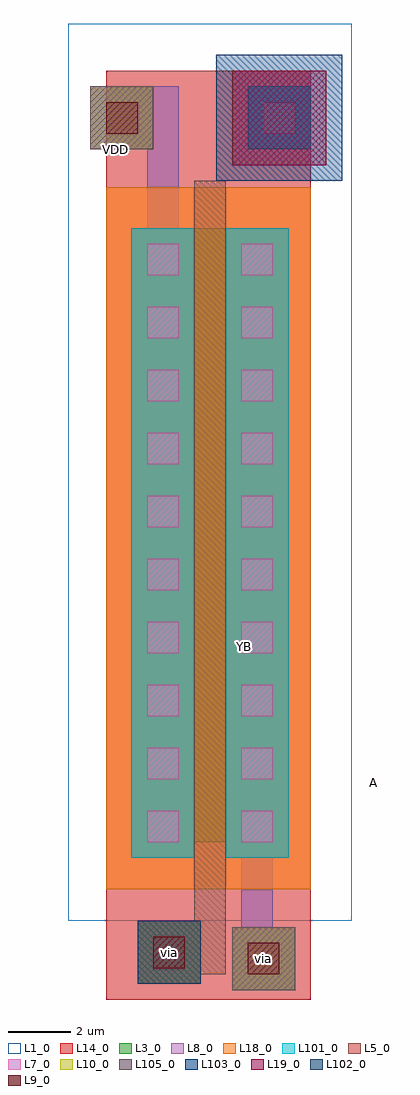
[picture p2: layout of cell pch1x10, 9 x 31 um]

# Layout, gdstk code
import gdstk
lib = gdstk.Library(unit=1e-6, precision=1e-09)
def R(c, l, rs):  # rectangles x0, y0, x1, y1
    for r in rs: c.add(gdstk.rectangle(r[:2], r[2:], *l))
L1_0 = (1, 0)
L3_0 = (3, 0)
L5_0 = (5, 0)
L7_0 = (7, 0)
L8_0 = (8, 0)
L9_0 = (9, 0)
L10_0 = (10, 0)
L14_0 = (14, 0)
L18_0 = (18, 0)
L19_0 = (19, 0)
L101_0 = (101, 0)
L102_0 = (102, 0)
L103_0 = (103, 0)
L105_0 = (105, 0)

dcont = lib.new_cell('dcont')
R(dcont, L3_0, [(-1,-1,1,1)])
R(dcont, L7_0, [(-0.5,-0.5,0.5,0.5)])
R(dcont, L8_0, [(-1,-1,1,1)])
R(dcont, L101_0, [(-1,-1,1,1)])
dcont.add(gdstk.Label('dcont', (0,0), layer=13, texttype=0))

via = lib.new_cell('Via')
R(via, L8_0, [(-1,-1,1,1)])
R(via, L9_0, [(-0.5,-0.5,0.5,0.5)])
R(via, L10_0, [(-1,-1,1,1)])
R(via, L105_0, [(-1,-1,1,1)])
via.add(gdstk.Label('via', (0,0), layer=13, texttype=0))

nsubcont = lib.new_cell('nsubcont')
R(nsubcont, L1_0, [(-2,-2,2,2)])
R(nsubcont, L19_0, [(-1.5,-1.5,1.5,1.5)])
R(nsubcont, L103_0, [(-2,-2,2,2)])
nsubcont.add(gdstk.Reference(dcont, (0,0)))
nsubcont.add(gdstk.Label('NScont', (0,0), layer=13, texttype=0))

pcont = lib.new_cell('pcont')
R(pcont, L5_0, [(-1,-1,1,1)])
R(pcont, L7_0, [(-0.5,-0.5,0.5,0.5)])
R(pcont, L8_0, [(-1,-1,1,1)])
R(pcont, L102_0, [(-1,-1,1,1)])
pcont.add(gdstk.Label('pcont', (0,0), layer=13, texttype=0))

pch1x10 = lib.new_cell('pch1x10')
R(pch1x10, L1_0, [(-1.2,3,7.8,31.5)])
R(pch1x10, L3_0, [(0.8,5.5,5.8,25)])
R(pch1x10, L5_0, [(1.3,1.3,3.8,2.7)])
R(pch1x10, L8_0, [(4,0.8,6,2.8), (1,1,3,3)])
R(pch1x10, L10_0, [(4,0.8,6,2.8), (1,1,3,3)])
R(pch1x10, L14_0, [(0,0.5,6.5,30)])
R(pch1x10, L18_0, [(0,4,6.5,26.3)])
R(pch1x10, L105_0, [(4,0.8,6,2.8), (1,1,3,3)])
pch1x10.add(gdstk.FlexPath([(3.3,26),(3.3,2.8)], 1, ends="extended", simple_path=True, layer=5, datatype=0))  # L5_0
pch1x10.add(gdstk.FlexPath([(4.8,5.5),(4.8,2.3)], 1, ends="extended", simple_path=True, layer=8, datatype=0))  # L8_0
pch1x10.add(gdstk.FlexPath([(4.8,5.8),(4.8,24)], 1.4, ends="extended", simple_path=True, layer=8, datatype=0))  # L8_0
pch1x10.add(gdstk.FlexPath([(1.8,5.8),(1.8,24)], 1.4, ends="extended", simple_path=True, layer=8, datatype=0))  # L8_0
pch1x10.add(gdstk.FlexPath([(1.8,29),(1.8,23.8)], 1, ends="extended", simple_path=True, layer=8, datatype=0))  # L8_0
pch1x10.add(gdstk.Reference(dcont, (1.8,6)))
pch1x10.add(gdstk.Reference(dcont, (1.8,8)))
pch1x10.add(gdstk.Reference(dcont, (4.8,12)))
pch1x10.add(gdstk.Reference(dcont, (4.8,10)))
pch1x10.add(gdstk.Reference(dcont, (1.8,14)))
pch1x10.add(gdstk.Reference(dcont, (1.8,16)))
pch1x10.add(gdstk.Reference(dcont, (4.8,20)))
pch1x10.add(gdstk.Reference(dcont, (4.8,18)))
pch1x10.add(gdstk.Reference(via, (0.5,28.5)))
pch1x10.add(gdstk.Reference(dcont, (4.8,22)))
pch1x10.add(gdstk.Reference(via, (5,1.8)))
pch1x10.add(gdstk.Reference(dcont, (1.8,24)))
pch1x10.add(gdstk.Reference(dcont, (4.8,24)))
pch1x10.add(gdstk.Reference(dcont, (1.8,22)))
pch1x10.add(gdstk.Reference(via, (2,2)))
pch1x10.add(gdstk.Reference(nsubcont, (5.5,28.5)))
pch1x10.add(gdstk.Reference(pcont, (2,2)))
pch1x10.add(gdstk.Reference(dcont, (1.8,20)))
pch1x10.add(gdstk.Reference(dcont, (1.8,18)))
pch1x10.add(gdstk.Reference(dcont, (4.8,14)))
pch1x10.add(gdstk.Reference(dcont, (4.8,16)))
pch1x10.add(gdstk.Reference(dcont, (1.8,12)))
pch1x10.add(gdstk.Reference(dcont, (1.8,10)))
pch1x10.add(gdstk.Reference(dcont, (4.8,6)))
pch1x10.add(gdstk.Reference(dcont, (4.8,8)))
pch1x10.add(gdstk.Label('via', (2,2), layer=13, texttype=0))
pch1x10.add(gdstk.Label('via', (5,1.8), layer=13, texttype=0))
pch1x10.add(gdstk.Label('YB', (4.4,11.7), layer=13, texttype=0))
pch1x10.add(gdstk.Label('VDD', (0.3,27.5), layer=13, texttype=0))
pch1x10.add(gdstk.Label('A', (8.5,7.4), layer=13, texttype=0))

lib.write_gds('pch1x10.gds')
